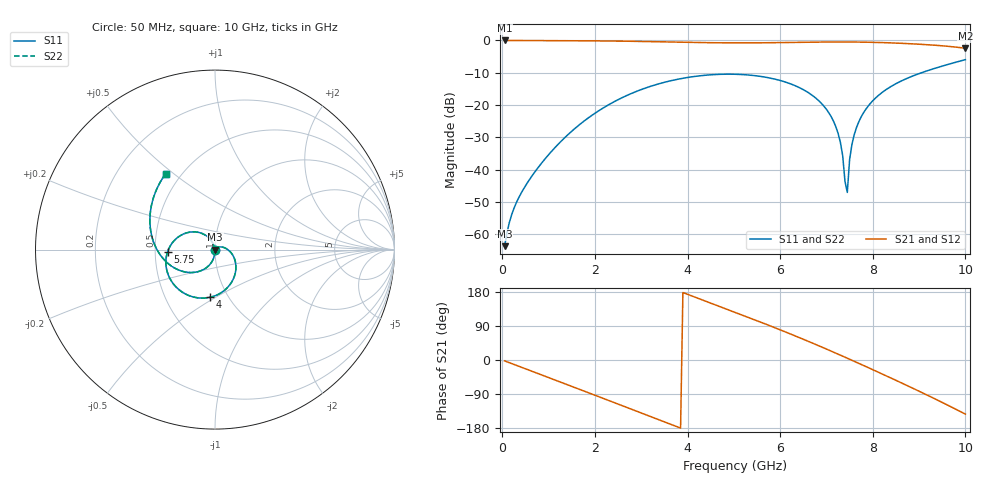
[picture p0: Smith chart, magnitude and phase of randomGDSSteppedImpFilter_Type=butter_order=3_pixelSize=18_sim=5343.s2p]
! freq	dB(S11)	phase(S11)	dB(S12)	phase(S12)
!  dB(S21)	phase(S21)	dB(S22)	phase(S22)
!S-par simulation data
#  GHz  S  DB  R 50
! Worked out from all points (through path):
!   200 points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, 50 MHz to 10 GHz, reference 50 ohm
!   highest |S21| = 0.00 dB at 50 MHz (marker M1); lowest = -2.4 dB at 10 GHz (marker M2)
!   group delay of S21, straight-line fit = 137 ps
!   lowest |S11| = -63.7 dB at 50 MHz (marker M3), VSWR 1.00, Z = 50.1 + j0.0416 ohm
!   |S11| at or under -10 dB: start of sweep to 9.05 GHz
!   |S22| runs from -63.7 to -5.9 dB; largest |S21 - S12| = 0
!   S11 on the Smith chart (normalised r, x): 50 MHz: 1.00, +0.00; 4 GHz: 0.82, -0.47; 5.75 GHz: 0.58, -0.02; 10 GHz: 0.41, +0.47
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0.05  -63.66 39.2  -0.00 -2.3  -0.00 -2.3  -63.67 39.2
0.2  -54.01 68.4  -0.02 -9.3  -0.02 -9.3  -54.01 68.4
0.5  -44.98 65.5  -0.04 -23.2  -0.04 -23.2  -44.98 65.6
1.15  -32.96 38.1  -0.06 -53.3  -0.06 -53.3  -32.96 38.3
1.75  -25.12 9.8  -0.11 -81.2  -0.11 -81.2  -25.12 10.0
2.5  -18.33 -25.9  -0.20 -116.4  -0.20 -116.4  -18.32 -25.8
3.4  -13.34 -68.4  -0.41 -158.7  -0.41 -158.7  -13.34 -68.2
4  -11.46 -96.2  -0.58 173.4  -0.58 173.4  -11.46 -96.1
5.05  -10.47 -144.5  -0.76 124.8  -0.76 124.8  -10.47 -144.4
5.75  -11.55 -177.2  -0.71 91.8  -0.71 91.8  -11.55 -177.1
6.7  -17.05 135.9  -0.52 44.5  -0.52 44.5  -17.05 136.2
7.2  -26.61 111.0  -0.46 18.2  -0.46 18.2  -26.61 111.6
7.3  -31.48 107.4  -0.46 12.8  -0.46 12.8  -31.47 108.3
7.35  -35.61 107.3  -0.46 10.2  -0.46 10.2  -35.59 108.7
7.4  -43.59 118.1  -0.46 7.5  -0.46 7.5  -43.45 121.2
7.45  -47.03 -112.2  -0.47 4.7  -0.47 4.7  -46.67 -116.1
7.5  -36.84 -95.5  -0.47 2.0  -0.47 2.0  -36.80 -96.8
7.65  -26.90 -98.6  -0.49 -6.2  -0.49 -6.2  -26.89 -98.9
7.9  -20.32 -111.3  -0.55 -20.0  -0.55 -20.0  -20.31 -111.4
8.35  -14.63 -136.5  -0.73 -45.1  -0.73 -45.1  -14.62 -136.5
9.15  -9.51 176.3  -1.29 -91.1  -1.29 -91.1  -9.51 176.3
10  -5.94 122.9  -2.42 -142.8  -2.42 -142.8  -5.94 123.0
